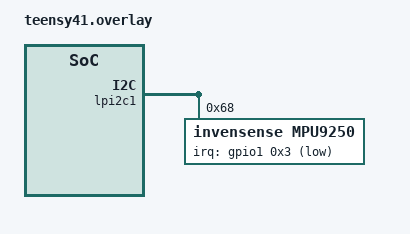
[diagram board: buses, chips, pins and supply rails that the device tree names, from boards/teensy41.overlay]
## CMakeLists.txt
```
#-------------------------------------------------------------------------------
# Zephyr Example Application
#
# Copyright (c) 2021 Nordic Semiconductor ASA
# SPDX-License-Identifier: Apache-2.0

cmake_minimum_required(VERSION 3.13.1)

set(BOARD teensy41)
set(MCU IMXRT1062_T41)
set(DTC_OVERLAY_FILE boards/teensy41.overlay)

find_package(Zephyr REQUIRED HINTS $ENV{ZEPHYR_BASE})

project(app LANGUAGES C CXX)

configure_file(app_version.h.in ${CMAKE_BINARY_DIR}/app/include/app_version.h)
target_include_directories(app PRIVATE ${CMAKE_BINARY_DIR}/app/include src)
target_link_libraries(app PRIVATE sbus)

target_sources(app PRIVATE src/main.cpp)
```

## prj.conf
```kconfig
# Copyright (c) 2021 Nordic Semiconductor ASA
# SPDX-License-Identifier: Apache-2.0
#
# This file contains selected Kconfig options for the application.

CONFIG_I2C=y
CONFIG_SENSOR=y
CONFIG_MPU9250=y
CONFIG_MPU9250_MAGN_EN=y
CONFIG_MPU9250_TRIGGER_NONE=y

CONFIG_CBPRINTF_FP_SUPPORT=y
CONFIG_USB_DEVICE_HID=y
CONFIG_USB_DEVICE_STACK=y
CONFIG_SENSOR_LOG_LEVEL_DBG=y
CONFIG_LOG=y
# CONFIG_USB_HID_LOG_LEVEL_INF=y
# CONFIG_USB_DRIVER_LOG_LEVEL_INF=y
# CONFIG_USB_DEVICE_LOG_LEVEL_INF=y
CONFIG_USB_DEVICE_PRODUCT="Zephyr HID sample"
CONFIG_USB_HID_BOOT_PROTOCOL=y

CONFIG_LOG_MODE_IMMEDIATE=n
CONFIG_USB_DEVICE_SOF=y

CONFIG_USB_DEVICE_PID=0x100
CONFIG_NEWLIB_LIBC=y
```

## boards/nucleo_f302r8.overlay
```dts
/*
 * Copyright (c) 2021 Nordic Semiconductor ASA
 * SPDX-License-Identifier: Apache-2.0
 */

/* This devicetree overlay file will be automatically picked by the Zephyr
 * build system when building the sample for the nucleo_f302r8 board. It shows
 * how the zoracle can be built on sample boards already provided
 * by Zephyr.
 */

/ {
	examplesensor0: examplesensor_0 {
		compatible = "zephyr,examplesensor";
		input-gpios = <&gpioc 13 (GPIO_PULL_UP | GPIO_ACTIVE_LOW)>;
	};
};

&gpioc {
	status = "okay";
};
```

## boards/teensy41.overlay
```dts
&lpi2c1 {
	status = "okay";
	mpu9250@68 {
        compatible = "invensense,mpu9250";
        reg = <0x68>;
        irq-gpios = < &gpio1 0x3 0x1 >;
        gyro-sr-div = <10>;
        gyro-dlpf = <5>;
        gyro-fs = <250>;
        accel-fs = <2>;
        accel-dlpf="5.05";
	};
};
```

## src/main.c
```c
#include <zephyr/kernel.h>
#include <zephyr/logging/log_ctrl.h>

#include "main.h"
#include "app_version.h"
#include "mpu9250.c"
#include "sbus.h"
/* SBUS object, reading SBUS */
bfs::SbusRx sbus_rx(&Serial2);
/* SBUS object, writing SBUS */
bfs::SbusTx sbus_tx(&Serial2);
/* SBUS data */
bfs::SbusData data;
void setup() {
    /* Begin the SBUS communication */
    sbus_rx.Begin();
    sbus_tx.Begin();
    while (1) {
        if (sbus_rx.Read()) {
            /* Grab the received data */
            data = sbus_rx.data();
            /* Display the received data */
            for (int8_t i = 0; i < data.NUM_CH; i++) {
                LOG_INF(data.ch[i]);
                LOG_INF("\t");
            }
            /* Display lost frames and failsafe data */
            LOG_INF(data.lost_frame);
            LOG_INF("\t");
            LOG_INF(data.failsafe);
            /* Set the SBUS TX data to the received data */
            sbus_tx.data(data);
            /* Write the data to the servos */
            sbus_tx.Write();
        }
    }
}

void main(void) {

    LOG_INF("Starting application");

    if (!device_is_ready(led.port)) {
        return;
    }

    if (gpio_pin_configure_dt(&led, GPIO_OUTPUT_ACTIVE) < 0) {
        return;
    }
    hid_init();
    log_backend_enable(&log_backend_usb_hid, NULL, LOG_LEVEL_DBG);

    k_msleep(SLEEP_TIME_MS);
    mpu_init();
    setup();

    while (1) {
        if (gpio_pin_toggle_dt(&led) < 0) {
            return;
        }
        if (mpu_process(mpu9250) != 0) {
//            return;
        }
        k_msleep(SLEEP_TIME_MS);
    }
}
```

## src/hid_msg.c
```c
#include "main.h"

#include <zephyr/kernel.h>
#include <zephyr/init.h>

#include <zephyr/usb/usb_device.h>
#include <zephyr/usb/class/usb_hid.h>

#include <string.h>

static bool configured;
static const struct device *hdev;
static ATOMIC_DEFINE(hid_ep_in_busy, 1);

#define HID_EP_BUSY_FLAG 0
#define REPORT_ID_1	0x01

static struct report {
    uint8_t id;
    char value[8];
} __packed report_1 = {
        .id = REPORT_ID_1,
        .value = "",
};

static void hid_init();
static void write_message(char *msg);

static const uint8_t hid_report_desc[] = {
        HID_USAGE_PAGE(HID_USAGE_GEN_DESKTOP),
        HID_USAGE(HID_USAGE_GEN_DESKTOP_UNDEFINED),
        HID_COLLECTION(HID_COLLECTION_APPLICATION),
        HID_LOGICAL_MIN8(0x00),
        HID_LOGICAL_MAX16(0xFF, 0x00),
        HID_REPORT_ID(REPORT_ID_1),
        HID_REPORT_SIZE(64),
        HID_REPORT_COUNT(1),
        HID_USAGE(HID_USAGE_GEN_DESKTOP_UNDEFINED),
        HID_INPUT(0x02),
        HID_END_COLLECTION,
};

static void send_report() {
    if (!atomic_test_and_set_bit(hid_ep_in_busy, HID_EP_BUSY_FLAG)) {
        int ret, wrote;
        ret = hid_int_ep_write(hdev, (uint8_t *)&report_1, sizeof(report_1), &wrote);
        if (ret != 0) {
            /*
             * Do nothing and wait until host has reset the device
             * and hid_ep_in_busy is cleared.
             */
            LOG_ERR("Failed to submit report");
        } else {
            LOG_DBG("Report submitted");
        }
    }
}

static void int_in_ready_cb(const struct device *dev) {
    ARG_UNUSED(dev);
    if (!atomic_test_and_clear_bit(hid_ep_in_busy, HID_EP_BUSY_FLAG)) {
        LOG_WRN("IN endpoint callback without preceding buffer write");
    }
}

static const struct hid_ops ops = {
        .int_in_ready = int_in_ready_cb,
};

static void status_cb(enum usb_dc_status_code status, const uint8_t *param) {
    switch (status) {
        case USB_DC_RESET:
            configured = false;
            break;
        case USB_DC_CONFIGURED:
            if (!configured) {
                int_in_ready_cb(hdev);
                configured = true;
            }
            break;
        case USB_DC_SOF:
            break;
        default:
            break;
    }
}

int is_usb_enabled = -1;
static void hid_init(void) {
    is_usb_enabled = usb_enable(status_cb);
    if (is_usb_enabled != 0) {
        LOG_ERR("Failed to enable USB");
        return;
    }
}

static void write_message(char msg[]) {
    if (is_usb_enabled != 0) {
        LOG_ERR("USB was not enabled");
        return;
    }
    for (int i = 0; i < strlen(msg); i += 7) {
        strncpy(report_1.value, msg + i, 7);
        send_report();
        k_msleep(50);
    }
}

static int composite_pre_init(const struct device *dev) {
    hdev = device_get_binding("HID_0");
    if (hdev == NULL) {
        return -ENODEV;
    }
    usb_hid_register_device(hdev, hid_report_desc, sizeof(hid_report_desc), &ops);

    atomic_set_bit(hid_ep_in_busy, HID_EP_BUSY_FLAG);

    usb_hid_set_proto_code(hdev, HID_BOOT_IFACE_CODE_NONE);

    return usb_hid_init(hdev);
}

SYS_INIT(composite_pre_init, APPLICATION, CONFIG_KERNEL_INIT_PRIORITY_DEVICE);
```

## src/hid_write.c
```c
#include <zephyr/kernel.h>
#include <zephyr/init.h>

#include <zephyr/usb/usb_device.h>
#include <zephyr/usb/class/usb_hid.h>

static bool configured;
static const struct device *hdev;
static ATOMIC_DEFINE(hid_ep_in_busy, 1);

#define HID_EP_BUSY_FLAG 0
#define REPORT_ID_1	0x01
#define REPORT_PERIOD K_SECONDS(1)

static struct report {
    uint8_t id;
    char value[8];
} __packed report_1 = {
        .id = REPORT_ID_1,
        .value = "",
};
char *report_msg;

static void send_report();

/*
 * Simple HID Report Descriptor
 * Report ID is present for completeness, although it can be omitted.
 * Output of "usbhid-dump -d 2fe3:0006 -e descriptor":
 *  05 01 09 00 A1 01 15 00    26 FF 00 85 01 75 08 95
 *  01 09 00 81 02 C0
 */
static const uint8_t hid_report_desc[] = {
        HID_USAGE_PAGE(HID_USAGE_GEN_DESKTOP),
        HID_USAGE(HID_USAGE_GEN_DESKTOP_UNDEFINED),
        HID_COLLECTION(HID_COLLECTION_APPLICATION),
        HID_LOGICAL_MIN8(0x00),
        HID_LOGICAL_MAX16(0xFF, 0x00),
        HID_REPORT_ID(REPORT_ID_1),
        HID_REPORT_SIZE(64),
        HID_REPORT_COUNT(1),
        HID_USAGE(HID_USAGE_GEN_DESKTOP_UNDEFINED),
        HID_INPUT(0x02),
        HID_END_COLLECTION,
};

static void send_report() {
    int wrote;
    if (!atomic_test_and_set_bit(hid_ep_in_busy, HID_EP_BUSY_FLAG)) {
        strncpy(report_1.value, report_msg, 8);
        hid_int_ep_write(hdev, (uint8_t *)&report_1, sizeof(report_1), &wrote);
    }
}

static void int_in_ready_cb(const struct device *dev) {
    ARG_UNUSED(dev);
    atomic_test_and_clear_bit(hid_ep_in_busy, HID_EP_BUSY_FLAG);
}

/*
 * On Idle callback is available here as an example even if actual use is
 * very limited. In contrast to report_event_handler(),
 * report value is not incremented here.
 */
static void on_idle_cb(const struct device *dev, uint16_t report_id) {
    send_report();
}

static void report_event_handler(struct k_timer *dummy) {
    send_report();
}

static const struct hid_ops ops = {
        .int_in_ready = int_in_ready_cb,
        .on_idle = on_idle_cb,
};

static void status_cb(enum usb_dc_status_code status, const uint8_t *param) {
    switch (status) {
        case USB_DC_RESET:
            configured = false;
            break;
        case USB_DC_CONFIGURED:
            if (!configured) {
                int_in_ready_cb(hdev);
                configured = true;
            }
            break;
        case USB_DC_SOF:
            break;
        default:
            break;
    }
}

int ret = -1;
static void init(void) {
    ret = usb_enable(status_cb);
    if (ret != 0) {
        return;
    }
}

static void write_message(char *msg) {
    if (ret == -1) {
        init();
    }
    report_msg = msg;
    send_report();
}

static int composite_pre_init(const struct device *dev) {
    hdev = device_get_binding("HID_0");
    if (hdev == NULL) {
        return -ENODEV;
    }
    usb_hid_register_device(hdev, hid_report_desc, sizeof(hid_report_desc), &ops);

    atomic_set_bit(hid_ep_in_busy, HID_EP_BUSY_FLAG);

    usb_hid_set_proto_code(hdev, HID_BOOT_IFACE_CODE_NONE);

    return usb_hid_init(hdev);
}

SYS_INIT(composite_pre_init, APPLICATION, CONFIG_KERNEL_INIT_PRIORITY_DEVICE);
```

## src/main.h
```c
#ifndef ZORACLE_MAIN_H
#define ZORACLE_MAIN_H

#define DEBUG 1
#define SLEEP_TIME_MS   1000

#include <stdio.h>

#include <zephyr/logging/log.h>
LOG_MODULE_REGISTER(main, CONFIG_APP_LOG_LEVEL);
#include "usb_hid_logger.c"

/* The devicetree node identifier for the "led0" alias. */
#include <zephyr/drivers/gpio.h>
#define LED0_NODE DT_ALIAS(led0)
static const struct gpio_dt_spec led = GPIO_DT_SPEC_GET(LED0_NODE, gpios);

#endif //ZORACLE_MAIN_H
```

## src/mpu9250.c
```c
#include <zephyr/kernel.h>
#include <zephyr/device.h>
#include <zephyr/drivers/sensor.h>
//#include "mpu9250/mpu9250.c"
#include <stdio.h>

const struct device *mpu9250;

struct sensor_value temperature;
struct sensor_value accel[3];
struct sensor_value gyro[3];
struct sensor_value magn[3];

static int mpu_process(const struct device *dev);
static void mpu_init();

static void mpu_init() {
    mpu9250 = DEVICE_DT_GET_ONE(invensense_mpu9250);
//    mpu9250_init(mpu9250);
    if (!device_is_ready(mpu9250)) {
        LOG_ERR("Device %s is not ready\n", mpu9250->name);
    }
}

static int mpu_process(const struct device *dev) {
    int rc = sensor_sample_fetch(dev);

    if (rc == 0) {
        rc = sensor_channel_get(dev, SENSOR_CHAN_ACCEL_XYZ, accel);
    }
    if (rc == 0) {
        rc = sensor_channel_get(dev, SENSOR_CHAN_GYRO_XYZ, gyro);
    }
    if (rc == 0) {
        rc = sensor_channel_get(dev, SENSOR_CHAN_MAGN_XYZ, magn);
    }
    if (rc == 0) {
        sensor_channel_get(dev, SENSOR_CHAN_DIE_TEMP, &temperature);
    }
    if (rc == 0) {
        LOG_INF("%g Cel\naccel %f %f %f m/s^2\ngyro  %f %f %f rad/s\nmagn  %f %f %f G\n",
                sensor_value_to_double(&temperature),
                sensor_value_to_double(&accel[0]),
                sensor_value_to_double(&accel[1]),
                sensor_value_to_double(&accel[2]),
                sensor_value_to_double(&gyro[0]),
                sensor_value_to_double(&gyro[1]),
                sensor_value_to_double(&gyro[2]),
                sensor_value_to_double(&magn[0]),
                sensor_value_to_double(&magn[1]),
                sensor_value_to_double(&magn[2]));
    } else {
        LOG_ERR("sample fetch/get failed: %d\n", rc);
    }
    return rc;
}
```

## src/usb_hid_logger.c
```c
#include <zephyr/logging/log_backend.h>
#include <zephyr/logging/log_core.h>
#include <zephyr/logging/log_output.h>
#include <zephyr/logging/log_backend_std.h>

#include <zephyr/usb/usb_device.h>
#include <zephyr/usb/class/usb_hid.h>

static struct k_spinlock probe_lock;

static uint32_t probe_log_format_current = LOG_OUTPUT_TEXT;

#define LOG_BUF_SIZE 127
static uint8_t log_buf[LOG_BUF_SIZE];

static bool configured;
static const struct device *hdev;
static ATOMIC_DEFINE(hid_ep_in_busy, 1);
int is_usb_enabled = -1;

#define HID_EP_BUSY_FLAG 0

static struct report {
    char value[8];
} __packed log_report = {
        .value = "",
};

static const uint8_t hid_report_desc[] = {
        HID_USAGE_PAGE(HID_USAGE_GEN_DESKTOP),
        HID_USAGE(HID_USAGE_GEN_DESKTOP_UNDEFINED),
        HID_COLLECTION(HID_COLLECTION_APPLICATION),
        HID_LOGICAL_MIN8(0x00),
        HID_LOGICAL_MAX16(0xFF, 0x00),
        HID_REPORT_SIZE(64),
        HID_REPORT_COUNT(1),
        HID_USAGE(HID_USAGE_GEN_DESKTOP_UNDEFINED),
        HID_INPUT(0x02),
        HID_END_COLLECTION,
};

static void send_report() {
    int ret, wrote;
    if (!atomic_test_and_set_bit(hid_ep_in_busy, HID_EP_BUSY_FLAG)) {
        ret = hid_int_ep_write(hdev, (uint8_t * ) & log_report, sizeof(log_report), &wrote);
        if (ret != 0) {
            /*
             * Do nothing and wait until host has reset the device
             * and hid_ep_in_busy is cleared.
             */
            LOG_ERR("Failed to submit report");
        } else {
            LOG_DBG("Report submitted");
        }
    }
}

static int write_message(uint8_t *data, size_t length, void *ctx) {
    if (is_usb_enabled != 0) {
        LOG_ERR("USB was not enabled");
        return 0;
    }
    for (int i = 0; i < length; i += 7) {
        strncpy(log_report.value, data + i, 7);
        log_report.value[7] = '\0';
        send_report();
        k_msleep(10);
    }
    return length;
}

LOG_OUTPUT_DEFINE(log_output_usb_hid_probe, write_message, log_buf, sizeof(log_buf));

static void probe_log_dropped(const struct log_backend *const backend, uint32_t cnt) {
    log_output_dropped_process(&log_output_usb_hid_probe, cnt);
}

static uint32_t format_flags(void) {
    uint32_t flags = LOG_OUTPUT_FLAG_TIMESTAMP | LOG_OUTPUT_FLAG_LEVEL;
    return flags;
}

static void probe_log_process(const struct log_backend *const backend, union log_msg_generic *msg) {
    log_format_func_t log_output_func = log_format_func_t_get(probe_log_format_current);
    k_spinlock_key_t key = k_spin_lock(&probe_lock);
    log_output_func(&log_output_usb_hid_probe, &msg->log, format_flags());
    k_spin_unlock(&probe_lock, key);
}

static void probe_log_panic(struct log_backend const *const backend) {
    k_spinlock_key_t key = k_spin_lock(&probe_lock);
    log_backend_std_panic(&log_output_usb_hid_probe);
    k_spin_unlock(&probe_lock, key);
}

static int probe_log_format_set(const struct log_backend *const backend, uint32_t log_type) {
    probe_log_format_current = log_type;
    return 0;
}

static void int_in_ready_cb(const struct device *dev) {
    ARG_UNUSED(dev);
    if (!atomic_test_and_clear_bit(hid_ep_in_busy, HID_EP_BUSY_FLAG)) {
        LOG_WRN("IN endpoint callback without preceding buffer write");
    }
}

static const struct hid_ops ops = {
        .int_in_ready = int_in_ready_cb,
};

static void status_cb(enum usb_dc_status_code status, const uint8_t *param) {
    switch (status) {
        case USB_DC_RESET:
            configured = false;
            break;
        case USB_DC_CONFIGURED:
            if (!configured) {
                int_in_ready_cb(hdev);
                configured = true;
            }
            break;
        case USB_DC_SOF:
            break;
        default:
            break;
    }
}

static int composite_pre_init(const struct device *dev) {
    hdev = device_get_binding("HID_0");
    if (hdev == NULL) {
        return -ENODEV;
    }
    usb_hid_register_device(hdev, hid_report_desc, sizeof(hid_report_desc), &ops);
    atomic_set_bit(hid_ep_in_busy, HID_EP_BUSY_FLAG);
    usb_hid_set_proto_code(hdev, HID_BOOT_IFACE_CODE_NONE);
    return usb_hid_init(hdev);
}

static void hid_init() {
    is_usb_enabled = usb_enable(status_cb);
    if (is_usb_enabled != 0) {
        LOG_ERR("Failed to enable USB");
        return;
    }
}

static void probe_log_init(const struct log_backend *const backend) {
    ARG_UNUSED(backend);
}

SYS_INIT(composite_pre_init, APPLICATION, CONFIG_KERNEL_INIT_PRIORITY_DEVICE);
const struct log_backend_api log_backend_usb_hid_api = {
        .process = probe_log_process,
        .dropped = IS_ENABLED(CONFIG_LOG_MODE_IMMEDIATE) ? NULL : probe_log_dropped,
        .panic = probe_log_panic,
        .format_set = probe_log_format_set,
        .init = probe_log_init,
};
LOG_BACKEND_DEFINE(log_backend_usb_hid, log_backend_usb_hid_api, false);
```
